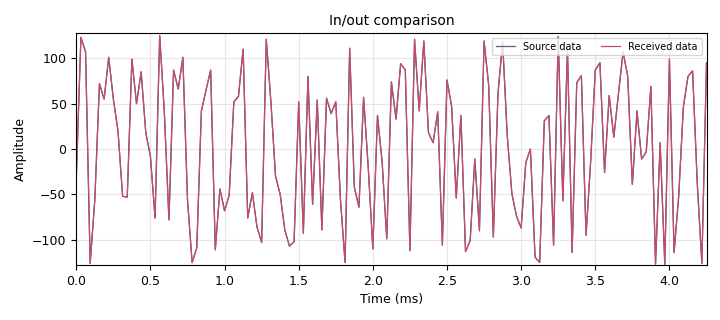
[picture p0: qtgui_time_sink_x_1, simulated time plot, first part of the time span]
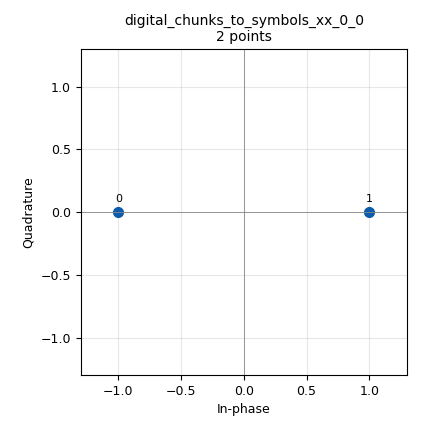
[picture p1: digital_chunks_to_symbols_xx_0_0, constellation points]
<?xml version='1.0' encoding='utf-8'?>
<?grc format='1' created='3.7.11'?>
<flow_graph>
<block>
<key>options</key>
<param><key>id</key><value>top_block</value></param>
<param><key>generate_options</key><value>qt_gui</value></param>
</block>
<block>
<key>variable</key>
<param><key>id</key><value>constel</value></param>
<param><key>value</key><value>digital.constellation_bpsk()</value></param>
</block>
<block>
<key>variable</key>
<param><key>id</key><value>padding_len</value></param>
<param><key>value</key><value>0</value></param>
</block>
<block>
<key>variable</key>
<param><key>id</key><value>payload_len</value></param>
<param><key>value</key><value>50</value></param>
</block>
<block>
<key>variable</key>
<param><key>id</key><value>preamble</value></param>
<param><key>value</key><value>[0xac, 0xdd, 0xa4, 0xe2, 0xf2, 0x8c, 0x20, 0xfc]</value></param>
</block>
<block>
<key>variable_qtgui_range</key>
<param><key>id</key><value>samp_rate</value></param>
<param><key>value</key><value>32000</value></param>
<param><key>gui_hint</key><value>0,0,1,1</value></param>
<param><key>label</key><value>Sample rate</value></param>
<param><key>min_len</key><value>100</value></param>
<param><key>orient</key><value>Qt.Horizontal</value></param>
<param><key>start</key><value>1</value></param>
<param><key>step</key><value>10</value></param>
<param><key>stop</key><value>256000</value></param>
<param><key>rangeType</key><value>int</value></param>
<param><key>widget</key><value>slider</value></param>
</block>
<block>
<key>variable_qtgui_label</key>
<param><key>id</key><value>samp_rate_label</value></param>
<param><key>value</key><value>samp_rate</value></param>
<param><key>gui_hint</key><value>0,1,1,1</value></param>
<param><key>label</key><value>Sample rate</value></param>
<param><key>type</key><value>int</value></param>
</block>
<block>
<key>analog_random_source_x</key>
<param><key>id</key><value>analog_random_source_x_0</value></param>
<param><key>max</key><value>256</value></param>
<param><key>min</key><value>0</value></param>
<param><key>num_samps</key><value>10000</value></param>
<param><key>type</key><value>byte</value></param>
<param><key>repeat</key><value>True</value></param>
</block>
<block>
<key>blocks_char_to_float</key>
<param><key>id</key><value>blocks_char_to_float_0</value></param>
<param><key>scale</key><value>1</value></param>
</block>
<block>
<key>blocks_char_to_float</key>
<param><key>id</key><value>blocks_char_to_float_1_0</value></param>
<param><key>scale</key><value>1</value></param>
</block>
<block>
<key>blocks_repack_bits_bb</key>
<param><key>id</key><value>blocks_repack_bits_bb_0_0</value></param>
<param><key>k</key><value>constel.bits_per_symbol()</value></param>
<param><key>l</key><value>8</value></param>
<param><key>endianness</key><value>gr.GR_LSB_FIRST</value></param>
</block>
<block>
<key>blocks_repack_bits_bb</key>
<param><key>id</key><value>blocks_repack_bits_bb_1</value></param>
<param><key>k</key><value>8</value></param>
<param><key>l</key><value>constel.bits_per_symbol()</value></param>
<param><key>endianness</key><value>gr.GR_LSB_FIRST</value></param>
</block>
<block>
<key>blocks_throttle</key>
<param><key>id</key><value>blocks_throttle_1</value></param>
<param><key>samples_per_second</key><value>samp_rate</value></param>
<param><key>type</key><value>byte</value></param>
</block>
<block>
<key>digital_chunks_to_symbols_xx</key>
<param><key>id</key><value>digital_chunks_to_symbols_xx_0_0</value></param>
<param><key>dimension</key><value>1</value></param>
<param><key>in_type</key><value>byte</value></param>
<param><key>out_type</key><value>complex</value></param>
<param><key>symbol_table</key><value>constel.points()</value></param>
</block>
<block>
<key>digital_constellation_decoder_cb</key>
<param><key>id</key><value>digital_constellation_decoder_cb_0_0</value></param>
<param><key>constellation</key><value>constel.base()</value></param>
</block>
<block>
<key>import</key>
<param><key>id</key><value>import_0</value></param>
<param><key>import</key><value>from gnuradio import digital</value></param>
</block>
<block>
<key>import</key>
<param><key>id</key><value>import_0_0</value></param>
<param><key>import</key><value>from gnuradio import filter</value></param>
</block>
<block>
<key>qtgui_time_sink_x</key>
<param><key>id</key><value>qtgui_time_sink_x_1</value></param>
<param><key>gui_hint</key><value>3,0,1,4</value></param>
<param><key>color1</key><value>"blue"</value></param>
<param><key>label1</key><value>"Source data"</value></param>
<param><key>color2</key><value>"red"</value></param>
<param><key>label2</key><value>"Received data"</value></param>
<param><key>name</key><value>"In/out comparison"</value></param>
<param><key>nconnections</key><value>2</value></param>
<param><key>size</key><value>512</value></param>
<param><key>srate</key><value>samp_rate</value></param>
<param><key>type</key><value>float</value></param>
<param><key>ymax</key><value>128</value></param>
<param><key>ymin</key><value>-128</value></param>
</block>
<block>
<key>virtual_sink</key>
<param><key>id</key><value>virtual_sink_2_0_0_0_0</value></param>
<param><key>stream_id</key><value>snk_data</value></param>
</block>
<block>
<key>virtual_sink</key>
<param><key>id</key><value>virtual_sink_2_0_0_0_0_0</value></param>
<param><key>stream_id</key><value>src_data</value></param>
</block>
<block>
<key>virtual_source</key>
<param><key>id</key><value>virtual_source_0</value></param>
<param><key>stream_id</key><value>src_data</value></param>
</block>
<block>
<key>virtual_source</key>
<param><key>id</key><value>virtual_source_2</value></param>
<param><key>stream_id</key><value>snk_data</value></param>
</block>
<connection><source_block_id>analog_random_source_x_0</source_block_id><sink_block_id>blocks_throttle_1</sink_block_id><source_key>0</source_key><sink_key>0</sink_key></connection>
<connection><source_block_id>blocks_char_to_float_0</source_block_id><sink_block_id>qtgui_time_sink_x_1</sink_block_id><source_key>0</source_key><sink_key>0</sink_key></connection>
<connection><source_block_id>blocks_char_to_float_1_0</source_block_id><sink_block_id>qtgui_time_sink_x_1</sink_block_id><source_key>0</source_key><sink_key>1</sink_key></connection>
<connection><source_block_id>blocks_repack_bits_bb_0_0</source_block_id><sink_block_id>virtual_sink_2_0_0_0_0</sink_block_id><source_key>0</source_key><sink_key>0</sink_key></connection>
<connection><source_block_id>blocks_repack_bits_bb_1</source_block_id><sink_block_id>digital_chunks_to_symbols_xx_0_0</sink_block_id><source_key>0</source_key><sink_key>0</sink_key></connection>
<connection><source_block_id>blocks_throttle_1</source_block_id><sink_block_id>blocks_repack_bits_bb_1</sink_block_id><source_key>0</source_key><sink_key>0</sink_key></connection>
<connection><source_block_id>blocks_throttle_1</source_block_id><sink_block_id>virtual_sink_2_0_0_0_0_0</sink_block_id><source_key>0</source_key><sink_key>0</sink_key></connection>
<connection><source_block_id>digital_chunks_to_symbols_xx_0_0</source_block_id><sink_block_id>digital_constellation_decoder_cb_0_0</sink_block_id><source_key>0</source_key><sink_key>0</sink_key></connection>
<connection><source_block_id>digital_constellation_decoder_cb_0_0</source_block_id><sink_block_id>blocks_repack_bits_bb_0_0</sink_block_id><source_key>0</source_key><sink_key>0</sink_key></connection>
<connection><source_block_id>virtual_source_0</source_block_id><sink_block_id>blocks_char_to_float_0</sink_block_id><source_key>0</source_key><sink_key>0</sink_key></connection>
<connection><source_block_id>virtual_source_2</source_block_id><sink_block_id>blocks_char_to_float_1_0</sink_block_id><source_key>0</source_key><sink_key>0</sink_key></connection>
</flow_graph>
